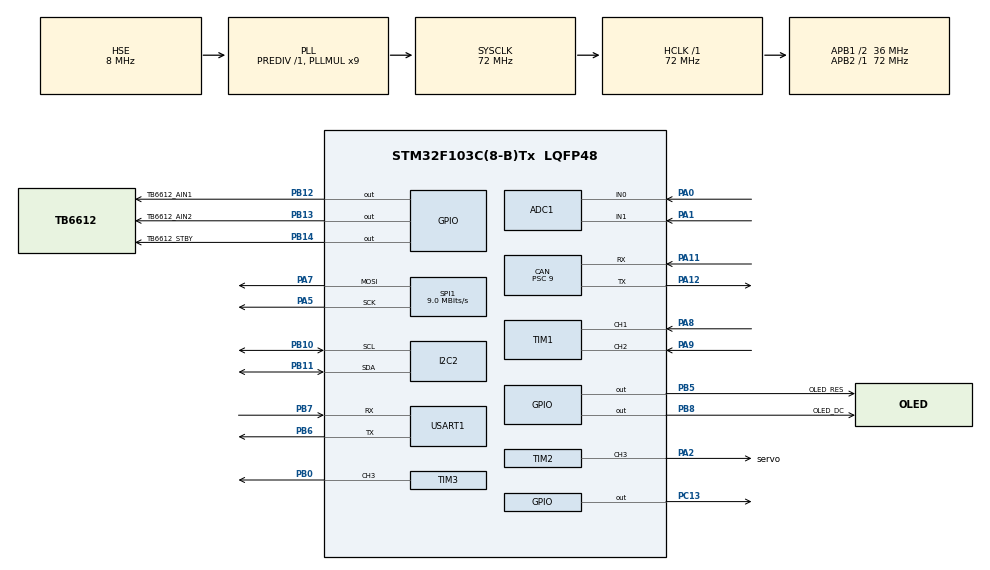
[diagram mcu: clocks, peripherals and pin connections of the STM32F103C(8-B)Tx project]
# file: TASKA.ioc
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ADC1.Channel-0\#ChannelRegularConversion=ADC_CHANNEL_0
ADC1.Channel-1\#ChannelRegularConversion=ADC_CHANNEL_1
ADC1.NbrOfConversion=2
ADC1.NbrOfConversionFlag=1
ADC1.Rank-0\#ChannelRegularConversion=1
ADC1.Rank-1\#ChannelRegularConversion=2
ADC1.SamplingTime-0\#ChannelRegularConversion=ADC_SAMPLETIME_55CYCLES_5
ADC1.SamplingTime-1\#ChannelRegularConversion=ADC_SAMPLETIME_55CYCLES_5
ADC1.master=1
CAN.BS1=CAN_BS1_2TQ
CAN.CalculateBaudRate=1000000
CAN.CalculateTimeBit=1000
CAN.CalculateTimeQuantum=250.0
CAN.Prescaler=9
FREERTOS.INCLUDE_vTaskDelayUntil=1
FREERTOS.Tasks01=startTask,24,128,StartDefaultTask,Default,NULL,Dynamic,NULL,NULL;gimbalTask,24,256,GimbalTask,Default,NULL,Dynamic,NULL,NULL;chassisTask,24,256,ChassisTask,Default,NULL,Dynamic,NULL,NULL;oledTask,8,256,OLED_Task,Default,NULL,Dynamic,NULL,NULL
FREERTOS.configTOTAL_HEAP_SIZE=10240
I2C2.I2C_Mode=I2C_Fast
Mcu.Family=STM32F1
Mcu.Name=STM32F103C(8-B)Tx
Mcu.Package=LQFP48
NVIC.CAN1_RX1_IRQn=true\:5\:0\:false\:false\:true\:true\:true\:true\:true
NVIC.PriorityGroup=NVIC_PRIORITYGROUP_4
NVIC.TIM4_IRQn=true\:15\:0\:false\:false\:true\:false\:false\:true\:true
NVIC.TimeBase=TIM4_IRQn
NVIC.TimeBaseIP=TIM4
PA0-WKUP.Signal=ADCx_IN0
PA1.Signal=ADCx_IN1
PA11.Mode=CAN_Activate
PA11.Signal=CAN_RX
PA12.Mode=CAN_Activate
PA12.Signal=CAN_TX
PA13.Mode=Serial_Wire
PA13.Signal=SYS_JTMS-SWDIO
PA14.Mode=Serial_Wire
PA14.Signal=SYS_JTCK-SWCLK
PA2.GPIO_Label=servo
PA2.Signal=S_TIM2_CH3
PA5.Mode=TX_Only_Simplex_Unidirect_Master
PA5.Signal=SPI1_SCK
PA7.Mode=TX_Only_Simplex_Unidirect_Master
PA7.Signal=SPI1_MOSI
PA8.Signal=S_TIM1_CH1
PA9.Signal=S_TIM1_CH2
PB0.Signal=S_TIM3_CH3
PB10.Mode=I2C
PB10.Signal=I2C2_SCL
PB11.Mode=I2C
PB11.Signal=I2C2_SDA
PB12.GPIO_Label=TB6612_AIN1
PB12.Signal=GPIO_Output
PB13.GPIO_Label=TB6612_AIN2
PB13.Signal=GPIO_Output
PB14.GPIO_Label=TB6612_STBY
PB14.Signal=GPIO_Output
PB5.GPIO_Label=OLED_RES
PB5.Signal=GPIO_Output
PB6.Mode=Asynchronous
PB6.Signal=USART1_TX
PB7.Mode=Asynchronous
PB7.Signal=USART1_RX
PB8.GPIO_Label=OLED_DC
PB8.Signal=GPIO_Output
PC13-TAMPER-RTC.Signal=GPIO_Output
PD0-OSC_IN.Mode=HSE-External-Oscillator
PD0-OSC_IN.Signal=RCC_OSC_IN
PD1-OSC_OUT.Mode=HSE-External-Oscillator
PD1-OSC_OUT.Signal=RCC_OSC_OUT
ProjectManager.HeapSize=0x200
ProjectManager.StackSize=0x400
ProjectManager.TargetToolchain=CMake
RCC.ADCPresc=RCC_ADCPCLK2_DIV6
RCC.AHBFreq_Value=72000000
RCC.APB1CLKDivider=RCC_HCLK_DIV2
RCC.APB1Freq_Value=36000000
RCC.APB1TimFreq_Value=72000000
RCC.APB2Freq_Value=72000000
RCC.APB2TimFreq_Value=72000000
RCC.HCLKFreq_Value=72000000
RCC.PLLMUL=RCC_PLL_MUL9
RCC.PLLSourceVirtual=RCC_PLLSOURCE_HSE
RCC.SYSCLKFreq_VALUE=72000000
RCC.SYSCLKSource=RCC_SYSCLKSOURCE_PLLCLK
RCC.USBFreq_Value=72000000
SH.ADCx_IN0.0=ADC1_IN0,IN0
SH.ADCx_IN1.0=ADC1_IN1,IN1
SH.S_TIM1_CH1.0=TIM1_CH1,Encoder_Interface
SH.S_TIM1_CH2.0=TIM1_CH2,Encoder_Interface
SH.S_TIM2_CH3.0=TIM2_CH3,PWM Generation3 CH3
SH.S_TIM3_CH3.0=TIM3_CH3,PWM Generation3 CH3
SPI1.BaudRatePrescaler=SPI_BAUDRATEPRESCALER_8
SPI1.CalculateBaudRate=9.0 MBits/s
SPI1.Direction=SPI_DIRECTION_2LINES
SPI1.Mode=SPI_MODE_MASTER
SPI1.VirtualType=VM_MASTER
TIM1.EncoderMode=TIM_ENCODERMODE_TI12
TIM2.Channel-PWM\ Generation3\ CH3=TIM_CHANNEL_3
TIM2.Period=19999
TIM2.Prescaler=71
TIM3.Channel-PWM\ Generation3\ CH3=TIM_CHANNEL_3
TIM3.Period=49
TIM3.Prescaler=71
USART1.VirtualMode=VM_ASYNC
VP_FREERTOS_VS_CMSIS_V2.Mode=CMSIS_V2
VP_SYS_VS_tim4.Mode=TIM4
board=custom

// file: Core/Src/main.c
/* USER CODE BEGIN Header */
/**
  ******************************************************************************
  * @file           : main.c
  * @brief          : Main program body
  ******************************************************************************
  * @attention
  *
  * Copyright (c) 2026 STMicroelectronics.
  * All rights reserved.
  *
  * This software is licensed under terms that can be found in the LICENSE file
  * in the root directory of this software component.
  * If no LICENSE file comes with this software, it is provided AS-IS.
  *
  ******************************************************************************
  */
/* USER CODE END Header */
#include "main.h"
#include "cmsis_os.h"
#include "adc.h"
#include "can.h"
#include "i2c.h"
#include "spi.h"
#include "tim.h"
#include "usart.h"
#include "gpio.h"

/* USER CODE BEGIN Includes */
#include "board_config.h"
#include "bsp_can.h"
#include "gimbal.h"
#include "chassis.h"
#include "oled_app.h"
#include "gimbal_oled.h"
/* USER CODE END Includes */

void SystemClock_Config(void);
void MX_FREERTOS_Init(void);

int main(void)
{

  /* MCU Configuration--------------------------------------------------------*/

  /* Reset of all peripherals, Initializes the Flash interface and the Systick. */
  HAL_Init();

  /* Configure the system clock */
  SystemClock_Config();

  /* Initialize all configured peripherals */
  MX_GPIO_Init();
  MX_ADC1_Init();
  MX_CAN_Init();
  MX_TIM1_Init();
  MX_TIM3_Init();
  MX_TIM2_Init();
  MX_SPI1_Init();
  MX_USART1_UART_Init();
  MX_I2C2_Init();
  /* USER CODE BEGIN 2 */
  /* 启动 CAN（配滤波器 + 启动 + 使能接收中断） */
  bsp_can_init();

  /* 板级差异化初始化 */
#if BOARD_GIMBAL
  gimbal_init();
  gimbal_oled_init();   /* 云台板 I2C OLED */
#else
  chassis_init();
  oled_app_init();
#endif
  /* USER CODE END 2 */

  /* Init scheduler */
  osKernelInitialize();  /* Call init function for freertos objects (in cmsis_os2.c) */
  MX_FREERTOS_Init();

  /* Start scheduler */
  osKernelStart();

  /* We should never get here as control is now taken by the scheduler */

  /* Infinite loop */
  while (1)
  {

  }
}

void SystemClock_Config(void)
{
  RCC_OscInitTypeDef RCC_OscInitStruct = {0};
  RCC_ClkInitTypeDef RCC_ClkInitStruct = {0};
  RCC_PeriphCLKInitTypeDef PeriphClkInit = {0};

  /** Initializes the RCC Oscillators according to the specified parameters
  * in the RCC_OscInitTypeDef structure.
  */
  RCC_OscInitStruct.OscillatorType = RCC_OSCILLATORTYPE_HSE;
  RCC_OscInitStruct.HSEState = RCC_HSE_ON;
  RCC_OscInitStruct.HSEPredivValue = RCC_HSE_PREDIV_DIV1;
  RCC_OscInitStruct.HSIState = RCC_HSI_ON;
  RCC_OscInitStruct.PLL.PLLState = RCC_PLL_ON;
  RCC_OscInitStruct.PLL.PLLSource = RCC_PLLSOURCE_HSE;
  RCC_OscInitStruct.PLL.PLLMUL = RCC_PLL_MUL9;
  if (HAL_RCC_OscConfig(&RCC_OscInitStruct) != HAL_OK)
  {
    Error_Handler();
  }

  /** Initializes the CPU, AHB and APB buses clocks
  */
  RCC_ClkInitStruct.ClockType = RCC_CLOCKTYPE_HCLK|RCC_CLOCKTYPE_SYSCLK
                              |RCC_CLOCKTYPE_PCLK1|RCC_CLOCKTYPE_PCLK2;
  RCC_ClkInitStruct.SYSCLKSource = RCC_SYSCLKSOURCE_PLLCLK;
  RCC_ClkInitStruct.AHBCLKDivider = RCC_SYSCLK_DIV1;
  RCC_ClkInitStruct.APB1CLKDivider = RCC_HCLK_DIV2;
  RCC_ClkInitStruct.APB2CLKDivider = RCC_HCLK_DIV1;

  if (HAL_RCC_ClockConfig(&RCC_ClkInitStruct, FLASH_LATENCY_2) != HAL_OK)
  {
    Error_Handler();
  }
  PeriphClkInit.PeriphClockSelection = RCC_PERIPHCLK_ADC;
  PeriphClkInit.AdcClockSelection = RCC_ADCPCLK2_DIV6;
  if (HAL_RCCEx_PeriphCLKConfig(&PeriphClkInit) != HAL_OK)
  {
    Error_Handler();
  }
}

/* USER CODE BEGIN 4 */
/* printf 重定向到 USART1 (PB6=TX)：覆盖 syscalls.c 的 weak _write */
__attribute__((used))
int _write(int file, char *ptr, int len)
{
    (void)file;
    HAL_UART_Transmit(&huart1, (uint8_t *)ptr, (uint16_t)len, 100);
    return len;
}
/* USER CODE END 4 */

void HAL_TIM_PeriodElapsedCallback(TIM_HandleTypeDef *htim)
{
  if (htim->Instance == TIM4)
  {
    HAL_IncTick();
  }
}

void Error_Handler(void)
{
  __disable_irq();
  while (1)
  {
  }
}

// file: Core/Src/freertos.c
/* USER CODE BEGIN Header */
/**
  ******************************************************************************
  * File Name          : freertos.c
  * Description        : Code for freertos applications
  ******************************************************************************
  * @attention
  *
  * Copyright (c) 2026 STMicroelectronics.
  * All rights reserved.
  *
  * This software is licensed under terms that can be found in the LICENSE file
  * in the root directory of this software component.
  * If no LICENSE file comes with this software, it is provided AS-IS.
  *
  ******************************************************************************
  */
/* USER CODE END Header */

#include "FreeRTOS.h"
#include "task.h"
#include "main.h"
#include "cmsis_os.h"

/* USER CODE BEGIN Includes */
#include "board_config.h"
#include "gimbal_oled.h"
#include "gimbal.h"
#include "chassis.h"
#include "oled_app.h"
/* USER CODE END Includes */

/* Definitions for startTask */
osThreadId_t startTaskHandle;
const osThreadAttr_t startTask_attributes = {
  .name = "startTask",
  .stack_size = 128 * 4,
  .priority = (osPriority_t) osPriorityNormal,
};
/* Definitions for gimbalTask */
osThreadId_t gimbalTaskHandle;
const osThreadAttr_t gimbalTask_attributes = {
  .name = "gimbalTask",
  .stack_size = 256 * 4,
  .priority = (osPriority_t) osPriorityNormal,
};
/* Definitions for chassisTask */
osThreadId_t chassisTaskHandle;
const osThreadAttr_t chassisTask_attributes = {
  .name = "chassisTask",
  .stack_size = 256 * 4,
  .priority = (osPriority_t) osPriorityNormal,
};
/* Definitions for oledTask */
osThreadId_t oledTaskHandle;
const osThreadAttr_t oledTask_attributes = {
  .name = "oledTask",
  .stack_size = 256 * 4,
  .priority = (osPriority_t) osPriorityLow,
};

void StartDefaultTask(void *argument);
void GimbalTask(void *argument);
void ChassisTask(void *argument);
void OLED_Task(void *argument);

void MX_FREERTOS_Init(void); /* (MISRA C 2004 rule 8.1) */

void MX_FREERTOS_Init(void) {

  /* Create the thread(s) */
  /* creation of startTask */
  startTaskHandle = osThreadNew(StartDefaultTask, NULL, &startTask_attributes);

  /* creation of gimbalTask */
  gimbalTaskHandle = osThreadNew(GimbalTask, NULL, &gimbalTask_attributes);

  /* creation of chassisTask */
  chassisTaskHandle = osThreadNew(ChassisTask, NULL, &chassisTask_attributes);

  /* creation of oledTask */
  oledTaskHandle = osThreadNew(OLED_Task, NULL, &oledTask_attributes);

}

void StartDefaultTask(void *argument)
{
  /* USER CODE BEGIN StartDefaultTask */
  /* 双板共用工程：删除本板不需要的任务，节省 RAM/CPU */
#if BOARD_GIMBAL
  vTaskDelete(chassisTaskHandle);
  vTaskDelete(oledTaskHandle);
#else
  vTaskDelete(gimbalTaskHandle);
#endif

  /* 删除自身 */
  vTaskDelete(NULL);
  /* USER CODE END StartDefaultTask */
}

void GimbalTask(void *argument)
{
  /* USER CODE BEGIN GimbalTask */
  /* Infinite loop */
  for(;;)
  {
#if BOARD_GIMBAL
    gimbal_task();
    gimbal_oled_task();   /* 云台板 I2C OLED 显示 CAN 状态 */
    osDelay(5);
#else
    osDelay(1000);
#endif
  }
  /* USER CODE END GimbalTask */
}

void ChassisTask(void *argument)
{
  /* USER CODE BEGIN ChassisTask */
  /* Infinite loop */
  for(;;)
  {
#if BOARD_CHASSIS
    chassis_task();
    osDelay(5);
#else
    osDelay(1000);
#endif
  }
  /* USER CODE END ChassisTask */
}

void OLED_Task(void *argument)
{
  /* USER CODE BEGIN OLED_Task */
  /* Infinite loop */
  for(;;)
  {
#if BOARD_CHASSIS
    oled_app_task();
    osDelay(50);
#else
    osDelay(1000);
#endif
  }
  /* USER CODE END OLED_Task */
}
